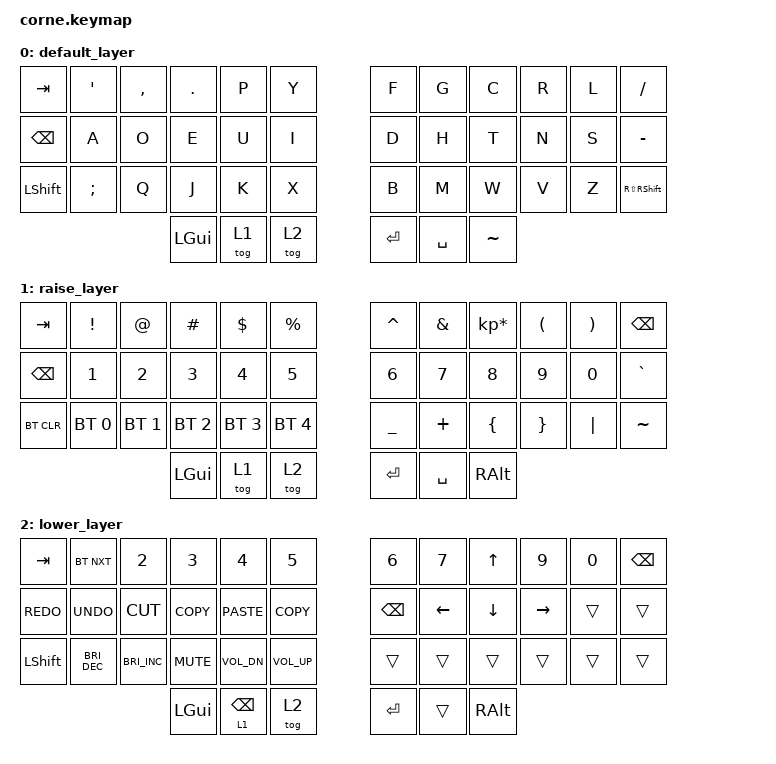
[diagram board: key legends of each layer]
/*
 * Copyright (c) 2020 The ZMK Contributors
 *
 * SPDX-License-Identifier: MIT
 */

#include <behaviors.dtsi>
#include <dt-bindings/zmk/bt.h>
#include <dt-bindings/zmk/keys.h>

/ {
    keymap {
        compatible = "zmk,keymap";

        default_layer {
            // -----------------------------------------------------------------------------------------
            // |  TAB |  Q  |  W  |  E  |  R  |  T  |   |  Y  |  U   |  I  |  O  |  P  | BKSP |
            // | CTRL |  A  |  S  |  D  |  F  |  G  |   |  H  |  J   |  K  |  L  |  ;  |  '   |
            // | SHFT |  Z  |  X  |  C  |  V  |  B  |   |  N  |  M   |  ,  |  .  |  /  | ESC  |
            //                    | GUI | LWR | SPC |   | ENT | RSE  | ALT |

            bindings = <
&kp TAB        &kp SQT        &kp COMMA  &kp PERIOD  &kp P   &kp Y     &kp F    &kp G      &kp C      &kp R  &kp L  &kp SLASH
&kp BACKSPACE  &kp A          &kp O      &kp E       &kp U   &kp I     &kp D    &kp H      &kp T      &kp N  &kp S  &kp MINUS
&kp LSHFT      &kp SEMICOLON  &kp Q      &kp J       &kp K   &kp X     &kp B    &kp M      &kp W      &kp V  &kp Z  &kp RS(RIGHT_SHIFT)
                                         &kp LGUI    &tog 1  &tog 2    &kp RET  &kp SPACE  &kp TILDE
            >;
        };

        raise_layer {
            // -----------------------------------------------------------------------------------------
            // |  TAB |  !  |  @  |  #  |  $  |  %  |   |  ^  |  &  |  *  |  (  |  )  | BKSP |
            // | CTRL |     |     |     |     |     |   |  -  |  =  |  [  |  ]  |  \  |  `   |
            // | SHFT |     |     |     |     |     |   |  _  |  +  |  {  |  }  | "|" |  ~   |
            //                    | GUI |     | SPC |   | ENT |     | ALT |

            bindings = <
&kp TAB        &kp EXCL      &kp AT        &kp HASH      &kp DLLR      &kp PRCNT       &kp CARET     &kp AMPS   &kp KP_MULTIPLY  &kp LPAR  &kp RPAR  &kp BSPC
&kp BACKSPACE  &kp NUMBER_1  &kp NUMBER_2  &kp NUMBER_3  &kp NUMBER_4  &kp N5          &kp NUMBER_6  &kp N7     &kp N8           &kp N9    &kp N0    &kp GRAVE
&bt BT_CLR     &bt BT_SEL 0  &bt BT_SEL 1  &bt BT_SEL 2  &bt BT_SEL 3  &bt BT_SEL 4    &kp UNDER     &kp PLUS   &kp LBRC         &kp RBRC  &kp PIPE  &kp TILDE
                                           &kp LGUI      &tog 1        &tog 2          &kp RET       &kp SPACE  &kp RALT
            >;
        };

        lower_layer {
            // -----------------------------------------------------------------------------------------
            // |  TAB |  1  |  2  |  3  |  4  |  5  |   |  6  |  7  |  8  |  9  |  0  | BKSP |
            // | BTCLR| BT1 | BT2 | BT3 | BT4 | BT5 |   | LFT | DWN |  UP | RGT |     |      |
            // | SHFT |     |     |     |     |     |   |     |     |     |     |     |      |
            //                    | GUI |     | SPC |   | ENT |     | ALT |

            bindings = <
&kp TAB     &bt BT_NXT            &kp N2                &kp N3      &kp N4           &kp N5          &kp N6         &kp N7          &kp UP_ARROW    &kp N9     &kp N0  &kp BSPC
&kp K_REDO  &kp K_UNDO            &kp K_CUT             &kp K_COPY  &kp K_PASTE      &kp K_COPY      &kp BACKSPACE  &kp LEFT_ARROW  &kp DOWN_ARROW  &kp RIGHT  &trans  &trans
&kp LSHFT   &kp C_BRIGHTNESS_DEC  &kp C_BRIGHTNESS_INC  &kp K_MUTE  &kp C_VOL_DN     &kp C_VOL_UP    &trans         &trans          &trans          &trans     &trans  &trans
                                                        &kp LGUI    &lt 1 BACKSPACE  &tog 2          &kp RET        &trans          &kp RALT
            >;
        };
    };
};
